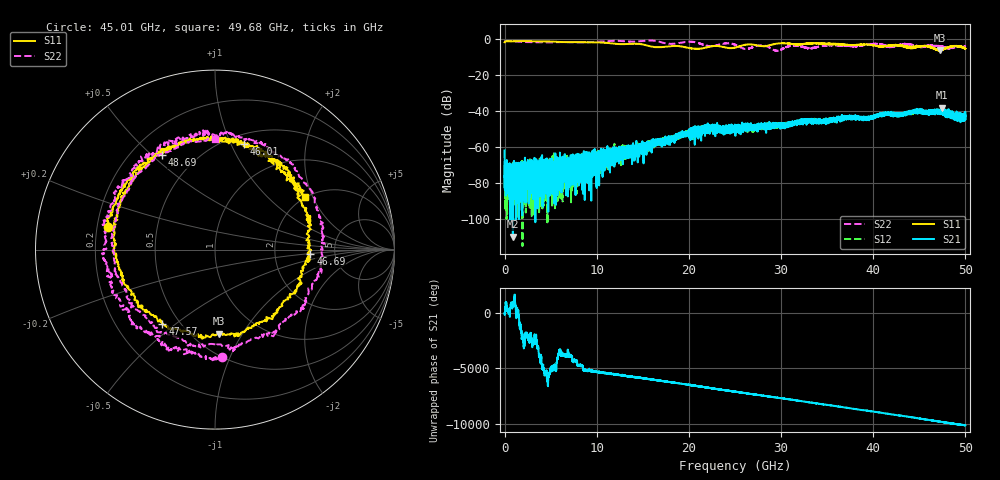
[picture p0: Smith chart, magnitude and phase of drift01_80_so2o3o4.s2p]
!Created with skrf (http://scikit-rf.org).
# Hz S RI R 50.0
!freq ReS11 ImS11 ReS21 ImS21 ReS12 ImS12 ReS22 ImS22
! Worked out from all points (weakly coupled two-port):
!   10001 points, 300 kHz to 50 GHz, reference 50 ohm
!   highest |S21| = -38.17 dB at 47.42 GHz (marker M1); lowest = -109.7 dB at 895.3 MHz (marker M2)
!   lowest |S11| = -6.6 dB at 47.28 GHz (marker M3), VSWR 2.77, Z = 33.2 - j39.9 ohm
!   |S11| at or under -10 dB: nowhere
!   |S22| runs from -6.8 to -1.0 dB; largest |S21 - S12| = 0.004
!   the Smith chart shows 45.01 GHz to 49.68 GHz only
!   S11 on the Smith chart (normalised r, x): 45.01 GHz: 0.25, +0.10; 46.01 GHz: 0.60, +1.12; 46.69 GHz: 3.26, -0.24; 47.57 GHz: 0.40, -0.45; 48.69 GHz: 0.32, +0.54; 49.68 GHz: 1.98, +1.76
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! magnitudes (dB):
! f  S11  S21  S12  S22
! 300 kHz  -2.1  -61.9  -68.0  -1.3
! 255.3 MHz  -1.4  -72.3  -71.8  -1.4
! 895.3 MHz  -1.5  -109.7  -79.6  -1.5
! 5.845 GHz  -1.8  -74.2  -88.2  -2.0
! 6.885 GHz  -1.9  -68.4  -67.6  -1.9
! 8.335 GHz  -1.9  -66.8  -68.8  -2.1
! 16.67 GHz  -4.8  -57.4  -55.9  -1.6
! 22.09 GHz  -4.6  -49.7  -49.3  -4.1
! 25 GHz  -5.0  -49.7  -50.8  -3.4
! 29.55 GHz  -2.8  -49.0  -47.5  -6.7
! 31.29 GHz  -3.0  -47.0  -46.5  -3.9
! 33.34 GHz  -2.6  -45.0  -45.5  -5.4
! 41.67 GHz  -3.9  -41.7  -41.2  -4.5
! 45.01 GHz  -4.3  -40.2  -39.8  -4.4
! 46.01 GHz  -4.3  -40.3  -40.8  -3.9
! 46.69 GHz  -5.5  -41.4  -39.8  -3.7
! 47.28 GHz  -6.6  -39.5  -39.9  -4.2
! 47.42 GHz  -6.3  -38.2  -41.0  -4.4
! 47.57 GHz  -5.9  -40.0  -41.5  -4.6
! 48.69 GHz  -4.4  -41.6  -41.8  -4.9
! 49.68 GHz  -4.7  -43.2  -43.9  -4.2
! 50 GHz  -5.6  -42.5  -42.3  -4.2
